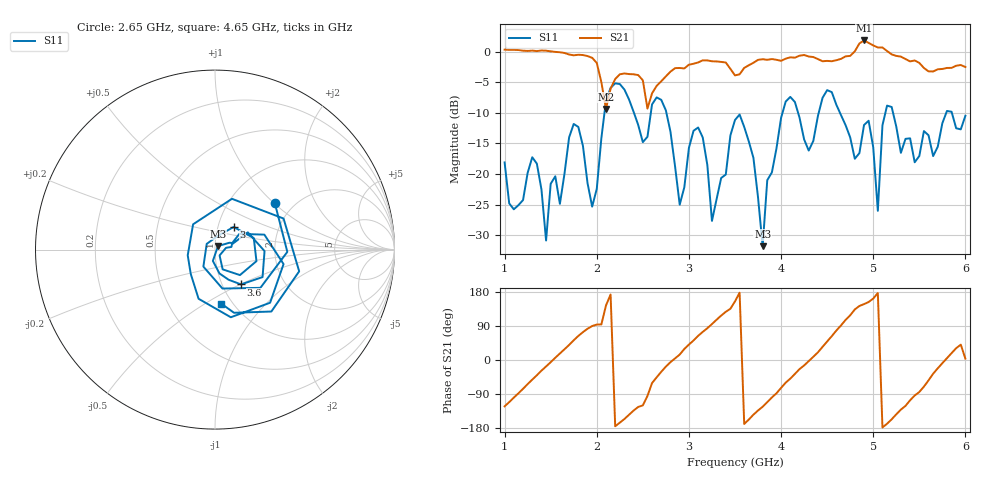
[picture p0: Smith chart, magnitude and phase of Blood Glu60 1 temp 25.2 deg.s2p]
! NanoVNA-App
! Date: 2024-03-21 12:27:36
! Start: 1GHz Stop: 6GHz Points: 101
! S-Parameter data: F S11 S21 S12 S22
# Hz S RI R 50
!	Frequency	S11_Real	S11_Imag	S21_Real	S21_Imag	S12_Real	S12_Imag	S22_Real	S22_Imag
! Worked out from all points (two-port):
!   101 points, 1 GHz to 6 GHz, reference 50 ohm
!   highest |S21| = 1.83 dB at 4.9 GHz (marker M1); lowest = -9.4 dB at 2.1 GHz (marker M2)
!   |S21| within 3 dB of the highest: start of sweep to 1.96 GHz; 4.652 GHz to 5.345 GHz (693.7 MHz wide, 13.9 % of centre)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
!   lowest |S11| = -31.8 dB at 3.8 GHz (marker M3), VSWR 1.05, Z = 51.6 + j2.03 ohm
!   |S11| at or under -10 dB: start of sweep to 2.084 GHz; 2.756 GHz to 4.016 GHz (1.26 GHz wide, 37.2 % of centre); 5.215 GHz to 5.793 GHz (577.7 MHz wide, 10.5 % of centre)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
!   S12 and S22 are empty: the file has one direction only
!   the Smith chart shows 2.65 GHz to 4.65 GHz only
!   S11 on the Smith chart (normalised r, x): 2.65 GHz: 1.60, +1.01; 3 GHz: 1.19, +0.31; 3.6 GHz: 1.22, -0.50; 4.65 GHz: 0.89, -0.59
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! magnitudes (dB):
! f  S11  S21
! 1 GHz  -18.1  0.3
! 1.35 GHz  -18.3  0.1
! 1.45 GHz  -30.9  0.2
! 1.85 GHz  -15.4  -0.6
! 1.95 GHz  -25.3  -1.0
! 2.1 GHz  -8.0  -9.4
! 2.65 GHz  -7.5  -5.6
! 2.7 GHz  -7.9  -4.8
! 2.9 GHz  -25.0  -2.7
! 3 GHz  -15.7  -2.1
! 3.15 GHz  -14.0  -1.4
! 3.25 GHz  -27.7  -1.6
! 3.5 GHz  -11.2  -3.9
! 3.6 GHz  -12.3  -2.7
! 3.8 GHz  -31.8  -1.2
! 4.05 GHz  -8.2  -1.1
! 4.35 GHz  -14.6  -0.9
! 4.65 GHz  -10.4  -1.2
! 4.9 GHz  -12.0  1.8
! 5.05 GHz  -26.0  0.7
! 5.2 GHz  -9.0  -0.5
! 6 GHz  -10.5  -2.5
